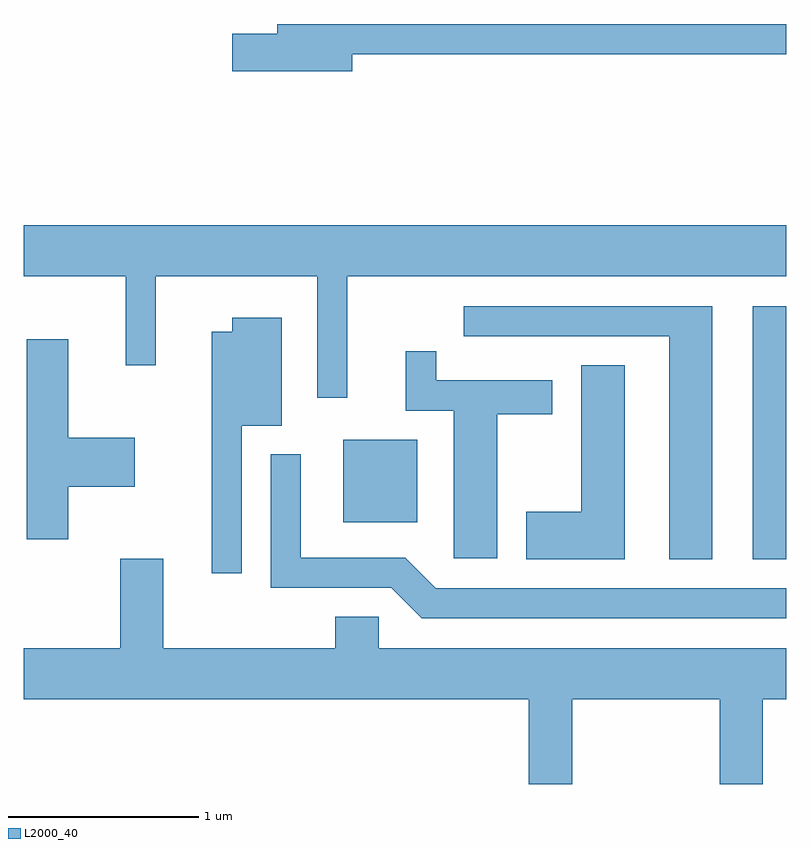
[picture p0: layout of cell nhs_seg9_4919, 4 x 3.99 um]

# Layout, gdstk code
import gdstk
lib = gdstk.Library(unit=1e-6, precision=1e-09)
def R(c, l, rs):  # rectangles x0, y0, x1, y1
    for r in rs: c.add(gdstk.rectangle(r[:2], r[2:], *l))
def P(c, l, *ps):  # polygons
    for p in ps: c.add(gdstk.Polygon(p, *l))
L2000_40 = (2000, 40)

nhs_seg9_4919 = lib.new_cell('nhs_seg9_4919')
R(nhs_seg9_4919, L2000_40, [(333.436,2043.611,333.611,2044.939), (331.286,2043.806,331.674,2044.239)])
P(nhs_seg9_4919, L2000_40, [(331.334,2046.261),(333.611,2046.261),(333.611,2046.419),(330.941,2046.419),(330.941,2046.369),(330.706,2046.369),(330.706,2046.171),(331.334,2046.171)],
  [(331.309,2045.096),(333.611,2045.096),(333.611,2045.364),(329.611,2045.364),(329.611,2045.096),(330.146,2045.096),(330.146,2044.628),(330.304,2044.628),(330.304,2045.096),(331.151,2045.096),(331.151,2044.458),(331.309,2044.458)],
  [(333.224,2044.939),(331.918,2044.939),(331.918,2044.781),(332.996,2044.781),(332.996,2043.611),(333.224,2043.611)],
  [(330.754,2044.311),(330.964,2044.311),(330.964,2044.879),(330.706,2044.879),(330.706,2044.804),(330.596,2044.804),(330.596,2043.538),(330.754,2043.538)],
  [(329.844,2043.991),(330.194,2043.991),(330.194,2044.249),(329.844,2044.249),(329.844,2044.764),(329.626,2044.764),(329.626,2043.716),(329.844,2043.716)],
  [(332.094,2044.371),(332.384,2044.371),(332.384,2044.549),(331.774,2044.549),(331.774,2044.703),(331.616,2044.703),(331.616,2044.391),(331.866,2044.391),(331.866,2043.616),(332.094,2043.616)],
  [(332.764,2044.629),(332.536,2044.629),(332.536,2043.859),(332.246,2043.859),(332.246,2043.611),(332.764,2043.611)],
  [(333.611,2043.459),(331.772,2043.459),(331.612,2043.619),(331.064,2043.619),(331.064,2044.163),(330.906,2044.163),(330.906,2043.461),(331.539,2043.461),(331.699,2043.301),(333.611,2043.301)],
  [(332.489,2042.876),(333.261,2042.876),(333.261,2042.432),(333.489,2042.432),(333.489,2042.876),(333.611,2042.876),(333.611,2043.144),(331.474,2043.144),(331.474,2043.309),(331.246,2043.309),(331.246,2043.144),(330.344,2043.144),(330.344,2043.614),(330.116,2043.614),(330.116,2043.144),(329.611,2043.144),(329.611,2042.876),(332.261,2042.876),(332.261,2042.432),(332.489,2042.432)])

lib.write_gds('nhs_seg9_4919.gds')
